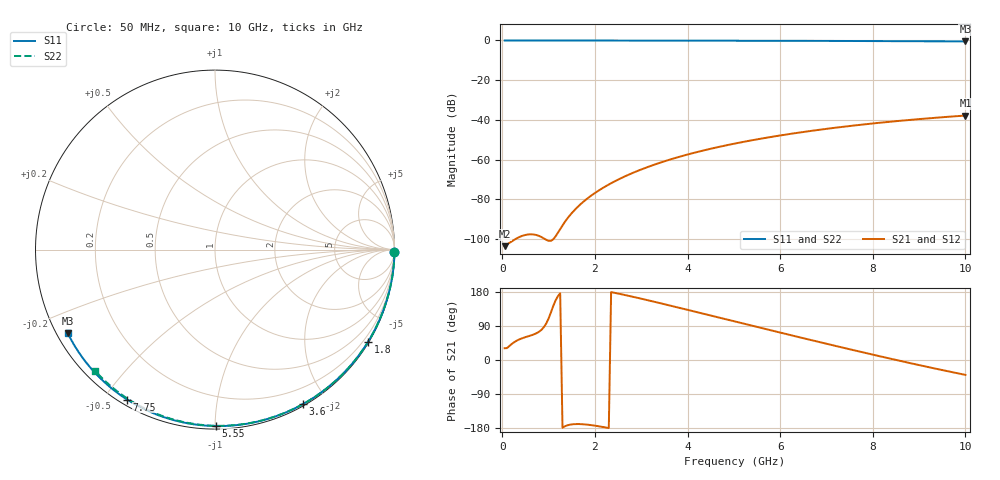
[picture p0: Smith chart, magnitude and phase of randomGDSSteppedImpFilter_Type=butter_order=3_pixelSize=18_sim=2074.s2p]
! freq	dB(S11)	phase(S11)	dB(S12)	phase(S12)
!  dB(S21)	phase(S21)	dB(S22)	phase(S22)
!S-par simulation data
#  GHz  S  DB  R 50
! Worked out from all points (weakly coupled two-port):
!   200 points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, 50 MHz to 10 GHz, reference 50 ohm
!   highest |S21| = -37.81 dB at 10 GHz (marker M1); lowest = -103.6 dB at 50 MHz (marker M2)
!   lowest |S11| = -0.5 dB at 10 GHz (marker M3), VSWR 34.34, Z = 1.56 - j13.2 ohm
!   |S11| at or under -10 dB: nowhere
!   |S22| runs from -0.4 to 0.0 dB; largest |S21 - S12| = 0
!   S11 on the Smith chart (normalised r, x): 50 MHz: open; 1.8 GHz: 0.03, -3.61; 3.6 GHz: 0.02, -1.72; 5.55 GHz: 0.02, -1.00; 7.75 GHz: 0.02, -0.57; 10 GHz: 0.03, -0.26
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0.05  -0.00 -0.9  -103.58 31.1  -103.58 31.1  -0.00 -0.8
0.45  -0.01 -7.9  -98.24 58.3  -98.24 58.3  -0.00 -7.0
0.9  -0.02 -15.7  -99.70 87.1  -99.70 87.1  -0.01 -13.9
1.3  -0.03 -22.5  -93.09 -178.7  -93.09 -178.7  -0.03 -20.0
1.75  -0.04 -30.2  -81.23 -169.6  -81.23 -169.6  -0.03 -26.7
1.8  -0.04 -31.0  -80.26 -170.2  -80.26 -170.2  -0.03 -27.5
2.15  -0.05 -36.9  -74.56 -176.2  -74.56 -176.2  -0.04 -32.7
2.5  -0.05 -42.7  -70.07 175.4  -70.07 175.4  -0.05 -37.9
2.9  -0.06 -49.2  -65.89 164.6  -65.89 164.6  -0.06 -43.7
3.4  -0.08 -57.2  -61.61 150.2  -61.61 150.2  -0.07 -50.9
3.6  -0.08 -60.4  -60.12 144.3  -60.12 144.3  -0.07 -53.7
3.9  -0.09 -65.1  -58.07 135.4  -58.07 135.4  -0.08 -57.9
4.3  -0.10 -71.2  -55.64 123.4  -55.64 123.4  -0.09 -63.4
5.05  -0.13 -82.5  -51.78 100.7  -51.78 100.7  -0.11 -73.6
5.55  -0.15 -89.8  -49.59 85.7  -49.59 85.7  -0.13 -80.2
6.1  -0.17 -97.7  -47.47 69.3  -47.47 69.3  -0.15 -87.3
6.7  -0.21 -106.1  -45.43 51.6  -45.43 51.6  -0.18 -94.8
7.2  -0.24 -112.9  -43.91 37.0  -43.91 37.0  -0.21 -101.0
7.75  -0.28 -120.4  -42.42 21.2  -42.42 21.2  -0.25 -107.7
8.35  -0.33 -128.4  -40.97 4.3  -40.97 4.3  -0.29 -114.9
9.2  -0.41 -139.7  -39.21 -18.8  -39.21 -18.8  -0.36 -125.0
10  -0.51 -150.4  -37.81 -39.3  -37.81 -39.3  -0.45 -134.6
